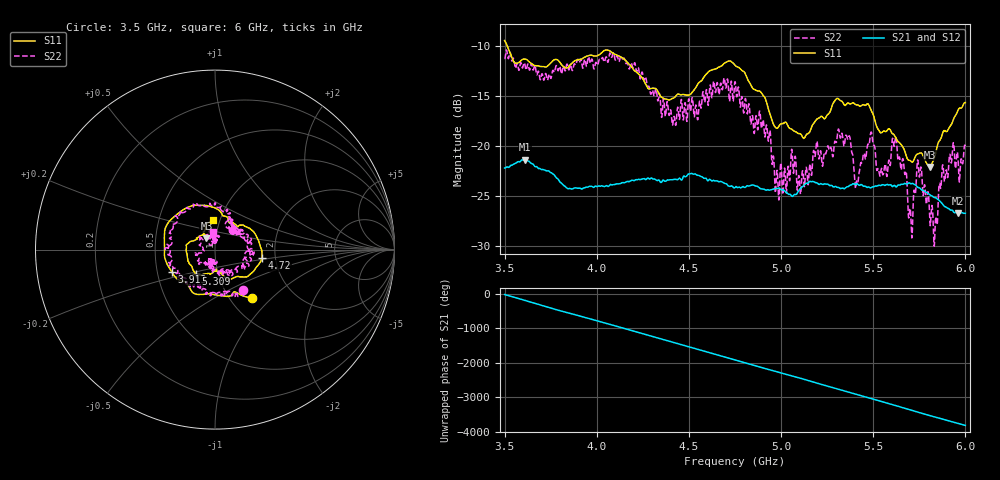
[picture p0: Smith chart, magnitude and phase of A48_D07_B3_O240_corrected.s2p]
! Created with skrf 1.9.0 (http://scikit-rf.org).
# Hz S RI R 50.0
!freq ReS11 ImS11 ReS21 ImS21 ReS12 ImS12 ReS22 ImS22
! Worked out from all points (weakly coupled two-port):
!   1601 points, 3.5 GHz to 6 GHz, reference 50 ohm
!   highest |S21| = -21.38 dB at 3.609 GHz (marker M1); lowest = -26.8 dB at 5.959 GHz (marker M2)
!   lowest |S11| = -22.1 dB at 5.806 GHz (marker M3), VSWR 1.17, Z = 45.1 + j5.66 ohm
!   |S11| at or under -10 dB: 3.514 GHz to end of sweep
!   |S22| runs from -30.0 to -10.4 dB; largest |S21 - S12| = 0.00092
!   S11 on the Smith chart (normalised r, x): 3.5 GHz: 1.26, -0.76; 3.913 GHz: 0.60, -0.16; 4.72 GHz: 1.70, -0.17; 5.309 GHz: 0.78, -0.22; 6 GHz: 0.93, +0.31
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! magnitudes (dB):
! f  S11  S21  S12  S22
! 3.5 GHz  -9.5  -22.2  -22.2  -11.3
! 3.609 GHz  -11.3  -21.4  -21.4  -11.8
! 3.913 GHz  -11.3  -24.3  -24.2  -11.3
! 3.917 GHz  -11.3  -24.3  -24.3  -11.5
! 4.334 GHz  -14.7  -23.4  -23.4  -15.4
! 4.72 GHz  -11.5  -24.0  -24.1  -15.6
! 4.75 GHz  -11.9  -24.2  -24.1  -13.6
! 4.931 GHz  -16.3  -24.4  -24.4  -19.5
! 4.98 GHz  -18.2  -24.3  -24.3  -22.6
! 5.167 GHz  -18.0  -23.6  -23.6  -22.7
! 5.309 GHz  -15.3  -24.2  -24.1  -18.4
! 5.409 GHz  -15.9  -23.8  -23.7  -23.5
! 5.484 GHz  -16.3  -24.2  -24.1  -18.9
! 5.584 GHz  -18.3  -23.9  -23.9  -21.4
! 5.617 GHz  -19.0  -24.0  -24.0  -19.6
! 5.702 GHz  -21.5  -23.8  -23.8  -26.4
! 5.748 GHz  -20.8  -24.2  -24.2  -22.9
! 5.806 GHz  -22.1  -24.9  -24.8  -27.2
! 5.838 GHz  -20.8  -25.2  -25.1  -27.4
! 5.869 GHz  -19.2  -25.7  -25.6  -23.8
! 5.959 GHz  -16.5  -26.8  -26.7  -21.1
! 6 GHz  -15.7  -26.7  -26.7  -20.1
